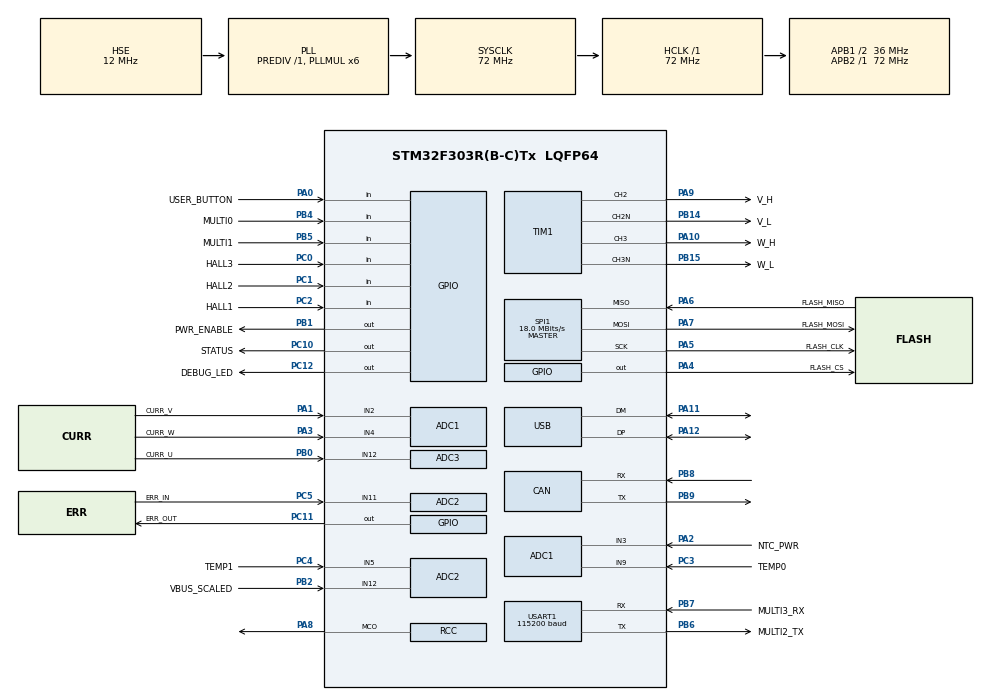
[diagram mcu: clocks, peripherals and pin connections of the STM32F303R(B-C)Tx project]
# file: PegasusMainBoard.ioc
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ADC1.Channel-1\#ChannelRegularConversion=ADC_CHANNEL_4
ADC1.ClockPrescaler=ADC_CLOCK_SYNC_PCLK_DIV4
ADC1.NbrOfConversionFlag=1
ADC1.Offset-1\#ChannelRegularConversion=0
ADC1.OffsetNumber-1\#ChannelRegularConversion=ADC_OFFSET_NONE
ADC1.Rank-1\#ChannelRegularConversion=1
ADC1.SamplingTime-1\#ChannelRegularConversion=ADC_SAMPLETIME_1CYCLE_5
ADC1.master=1
ADC2.Channel-0\#ChannelRegularConversion=ADC_CHANNEL_5
ADC2.ClockPrescaler=ADC_CLOCK_SYNC_PCLK_DIV4
ADC2.NbrOfConversionFlag=1
ADC2.Offset-0\#ChannelRegularConversion=0
ADC2.OffsetNumber-0\#ChannelRegularConversion=ADC_OFFSET_NONE
ADC2.Rank-0\#ChannelRegularConversion=1
ADC2.SamplingTime-0\#ChannelRegularConversion=ADC_SAMPLETIME_1CYCLE_5
ADC3.Channel-0\#ChannelRegularConversion=ADC_CHANNEL_12
ADC3.NbrOfConversionFlag=1
ADC3.Offset-0\#ChannelRegularConversion=0
ADC3.OffsetNumber-0\#ChannelRegularConversion=ADC_OFFSET_NONE
ADC3.Rank-0\#ChannelRegularConversion=1
ADC3.SamplingTime-0\#ChannelRegularConversion=ADC_SAMPLETIME_1CYCLE_5
ADC3.master=1
CAN.BS1=CAN_BS1_1TQ
CAN.BS2=CAN_BS2_1TQ
CAN.CalculateTimeQuantum=444.44444444444446
Mcu.Family=STM32F3
Mcu.Name=STM32F303R(B-C)Tx
Mcu.Package=LQFP64
NVIC.PriorityGroup=NVIC_PRIORITYGROUP_4
NVIC.RCC_IRQn=true\:0\:0\:false\:false\:true\:true\:false
PA0.GPIO_Label=USER_BUTTON
PA0.Signal=GPIO_Input
PA1.GPIO_Label=CURR_V
PA1.Mode=IN2-Single-Ended
PA1.Signal=ADC1_IN2
PA10.GPIO_Label=W_H
PA10.Signal=S_TIM1_CH3
PA11.Mode=Device
PA11.Signal=USB_DM
PA12.Mode=Device
PA12.Signal=USB_DP
PA13.Mode=Serial_Wire
PA13.Signal=SYS_JTMS-SWDIO
PA14.Mode=Serial_Wire
PA14.Signal=SYS_JTCK-SWCLK
PA2.GPIO_Label=NTC_PWR
PA2.Mode=IN3-Single-Ended
PA2.Signal=ADC1_IN3
PA3.GPIO_Label=CURR_W
PA3.Mode=IN4-Single-Ended
PA3.Signal=ADC1_IN4
PA4.GPIO_Label=FLASH_CS
PA4.Signal=GPIO_Output
PA5.GPIO_Label=FLASH_CLK
PA5.Mode=Full_Duplex_Master
PA5.Signal=SPI1_SCK
PA6.GPIO_Label=FLASH_MISO
PA6.Mode=Full_Duplex_Master
PA6.Signal=SPI1_MISO
PA7.GPIO_Label=FLASH_MOSI
PA7.Mode=Full_Duplex_Master
PA7.Signal=SPI1_MOSI
PA8.Mode=Clock-out
PA8.Signal=RCC_MCO
PA9.GPIO_Label=V_H
PA9.Signal=S_TIM1_CH2
PB0.GPIO_Label=CURR_U
PB0.Mode=IN12-Single-Ended
PB0.Signal=ADC3_IN12
PB1.GPIO_Label=PWR_ENABLE
PB1.Signal=GPIO_Output
PB13.GPIO_Label=U_L
PB13.Signal=TIM1_CH1N
PB14.GPIO_Label=V_L
PB14.Mode=Output Compare2 CH2 CH2N
PB14.Signal=TIM1_CH2N
PB15.GPIO_Label=W_L
PB15.Mode=Output Compare3 CH3 CH3N
PB15.Signal=TIM1_CH3N
PB2.GPIO_Label=VBUS_SCALED
PB2.Mode=IN12-Single-Ended
PB2.Signal=ADC2_IN12
PB3.Signal=SYS_JTDO-TRACESWO
PB4.GPIO_Label=MULTI0
PB4.Signal=GPIO_Input
PB5.GPIO_Label=MULTI1
PB5.Signal=GPIO_Input
PB6.GPIO_Label=MULTI2_TX
PB6.Mode=Asynchronous
PB6.Signal=USART1_TX
PB7.GPIO_Label=MULTI3_RX
PB7.Mode=Asynchronous
PB7.Signal=USART1_RX
PB8.Mode=Master
PB8.Signal=CAN_RX
PB9.Mode=Master
PB9.Signal=CAN_TX
PC0.GPIO_Label=HALL3
PC0.Signal=GPIO_Input
PC1.GPIO_Label=HALL2
PC1.Signal=GPIO_Input
PC10.GPIO_Label=STATUS
PC10.Signal=GPIO_Output
PC11.GPIO_Label=ERR_OUT
PC11.Signal=GPIO_Output
PC12.GPIO_Label=DEBUG_LED
PC12.Signal=GPIO_Output
PC2.GPIO_Label=HALL1
PC2.Signal=GPIO_Input
PC3.GPIO_Label=TEMP0
PC3.Signal=ADCx_IN9
PC4.GPIO_Label=TEMP1
PC4.Mode=IN5-Single-Ended
PC4.Signal=ADC2_IN5
PC5.GPIO_Label=ERR_IN
PC5.Mode=IN11-Single-Ended
PC5.Signal=ADC2_IN11
PF0-OSC_IN.Mode=HSE-External-Oscillator
PF0-OSC_IN.Signal=RCC_OSC_IN
PF1-OSC_OUT.Mode=HSE-External-Oscillator
PF1-OSC_OUT.Signal=RCC_OSC_OUT
ProjectManager.HeapSize=0x200
ProjectManager.StackSize=0x400
ProjectManager.TargetToolchain=STM32CubeIDE
RCC.AHBFreq_Value=72000000
RCC.APB1CLKDivider=RCC_HCLK_DIV2
RCC.APB1Freq_Value=36000000
RCC.APB1TimFreq_Value=72000000
RCC.APB2Freq_Value=72000000
RCC.APB2TimFreq_Value=72000000
RCC.CortexFreq_Value=72000000
RCC.HCLKFreq_Value=72000000
RCC.HSE_VALUE=12000000
RCC.HSI_VALUE=8000000
RCC.LSE_VALUE=32768
RCC.PLLMUL=RCC_PLL_MUL6
RCC.PRESCALERUSB=RCC_USBCLKSOURCE_PLL_DIV1_5
RCC.SYSCLKFreq_VALUE=72000000
RCC.SYSCLKSourceVirtual=RCC_SYSCLKSOURCE_PLLCLK
RCC.USBFreq_Value=48000000
SH.ADCx_IN9.0=ADC1_IN9,IN9-Single-Ended
SH.S_TIM1_CH2.0=TIM1_CH2,Output Compare2 CH2 CH2N
SH.S_TIM1_CH3.0=TIM1_CH3,Output Compare3 CH3 CH3N
SPI1.BaudRatePrescaler=SPI_BAUDRATEPRESCALER_4
SPI1.CalculateBaudRate=18.0 MBits/s
SPI1.DataSize=SPI_DATASIZE_8BIT
SPI1.Direction=SPI_DIRECTION_2LINES
SPI1.Mode=SPI_MODE_MASTER
SPI1.NSSPMode=SPI_NSS_PULSE_DISABLE
SPI1.VirtualType=VM_MASTER
TIM1.Channel-Output\ Compare2\ CH2\ CH2N=TIM_CHANNEL_2
TIM1.Channel-Output\ Compare3\ CH3\ CH3N=TIM_CHANNEL_3
USART1.BaudRate=115200
USART1.VirtualMode-Asynchronous=VM_ASYNC
VP_ADC1_TempSens_Input.Mode=IN-TempSens
VP_TIM1_VS_ClockSourceINT.Mode=Internal
board=custom

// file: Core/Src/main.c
/* USER CODE BEGIN Header */
/**
  ******************************************************************************
  * @file           : main.c
  * @brief          : Main program body
  ******************************************************************************
  * @attention
  *
  * <h2><center>&copy; Copyright (c) 2021 STMicroelectronics.
  * All rights reserved.</center></h2>
  *
  * This software component is licensed by ST under BSD 3-Clause license,
  * the "License"; You may not use this file except in compliance with the
  * License. You may obtain a copy of the License at:
  *                        opensource.org/licenses/BSD-3-Clause
  *
  ******************************************************************************
  */
/* USER CODE END Header */

#include "main.h"
#include "adc.h"
#include "can.h"
#include "spi.h"
#include "tim.h"
#include "usart.h"
#include "usb.h"
#include "gpio.h"

/* USER CODE BEGIN Includes */
#include <stdio.h>
#include <string.h>
/* USER CODE END Includes */

void SystemClock_Config(void);

int main(void)
{

  /* MCU Configuration--------------------------------------------------------*/

  /* Reset of all peripherals, Initializes the Flash interface and the Systick. */
  HAL_Init();

  /* Configure the system clock */
  SystemClock_Config();

  /* Initialize all configured peripherals */
  MX_GPIO_Init();
  MX_ADC1_Init();
  MX_ADC2_Init();
  MX_ADC3_Init();
  MX_CAN_Init();
  MX_SPI1_Init();
  MX_TIM1_Init();
  MX_USART1_UART_Init();
  MX_USB_PCD_Init();
  /* USER CODE BEGIN 2 */

  // Testa o funcionamento da flash
  // Acaba também testando a UART (MULTI2/3)
  uint8_t tx_buf[] = { 0x9F, 0x00, 0x00, 0x00, 0x00 };
  uint8_t rx_buf[5] = {0};
  HAL_GPIO_WritePin(FLASH_CS_GPIO_Port, FLASH_CS_Pin, SET);
  HAL_Delay(10);
  HAL_GPIO_WritePin(FLASH_CS_GPIO_Port, FLASH_CS_Pin, RESET);
  HAL_SPI_TransmitReceive(&hspi1, tx_buf, rx_buf, sizeof(rx_buf), 0xff);
  HAL_GPIO_WritePin(FLASH_CS_GPIO_Port, FLASH_CS_Pin, SET);
  uint32_t serial = rx_buf[1] << 16 | rx_buf[2] << 8 | rx_buf[3];

  char buf[200];
  sprintf(buf, "---\r\nFlash Serial: %lu | %s\n\r ", serial, serial == 15679512 ? "PASS" : "FAIL");
  HAL_UART_Transmit(&huart1, (uint8_t *) buf, strlen(buf), 0xff);

  /* USER CODE END 2 */

  /* Infinite loop */
  /* USER CODE BEGIN WHILE */
  while (1)
  {
	  // Testa os LEDs
	  HAL_GPIO_TogglePin(STATUS_GPIO_Port, STATUS_Pin);
	  HAL_GPIO_TogglePin(ERR_OUT_GPIO_Port, ERR_OUT_Pin);
	  HAL_GPIO_TogglePin(DEBUG_LED_GPIO_Port, DEBUG_LED_Pin);
	  HAL_Delay(500);
	  HAL_GPIO_TogglePin(STATUS_GPIO_Port, STATUS_Pin);
	  HAL_GPIO_TogglePin(ERR_OUT_GPIO_Port, ERR_OUT_Pin);
	  HAL_GPIO_TogglePin(DEBUG_LED_GPIO_Port, DEBUG_LED_Pin);
	  HAL_Delay(500);

    /* USER CODE END WHILE */

  }
}

void SystemClock_Config(void)
{
  RCC_OscInitTypeDef RCC_OscInitStruct = {0};
  RCC_ClkInitTypeDef RCC_ClkInitStruct = {0};
  RCC_PeriphCLKInitTypeDef PeriphClkInit = {0};

  /** Initializes the CPU, AHB and APB busses clocks
  */
  RCC_OscInitStruct.OscillatorType = RCC_OSCILLATORTYPE_HSE;
  RCC_OscInitStruct.HSEState = RCC_HSE_ON;
  RCC_OscInitStruct.HSEPredivValue = RCC_HSE_PREDIV_DIV1;
  RCC_OscInitStruct.HSIState = RCC_HSI_ON;
  RCC_OscInitStruct.PLL.PLLState = RCC_PLL_ON;
  RCC_OscInitStruct.PLL.PLLSource = RCC_PLLSOURCE_HSE;
  RCC_OscInitStruct.PLL.PLLMUL = RCC_PLL_MUL6;
  if (HAL_RCC_OscConfig(&RCC_OscInitStruct) != HAL_OK)
  {
    Error_Handler();
  }
  /** Initializes the CPU, AHB and APB busses clocks
  */
  RCC_ClkInitStruct.ClockType = RCC_CLOCKTYPE_HCLK|RCC_CLOCKTYPE_SYSCLK
                              |RCC_CLOCKTYPE_PCLK1|RCC_CLOCKTYPE_PCLK2;
  RCC_ClkInitStruct.SYSCLKSource = RCC_SYSCLKSOURCE_PLLCLK;
  RCC_ClkInitStruct.AHBCLKDivider = RCC_SYSCLK_DIV1;
  RCC_ClkInitStruct.APB1CLKDivider = RCC_HCLK_DIV2;
  RCC_ClkInitStruct.APB2CLKDivider = RCC_HCLK_DIV1;

  if (HAL_RCC_ClockConfig(&RCC_ClkInitStruct, FLASH_LATENCY_2) != HAL_OK)
  {
    Error_Handler();
  }
  PeriphClkInit.PeriphClockSelection = RCC_PERIPHCLK_USB|RCC_PERIPHCLK_USART1
                              |RCC_PERIPHCLK_TIM1|RCC_PERIPHCLK_ADC34;
  PeriphClkInit.Usart1ClockSelection = RCC_USART1CLKSOURCE_PCLK2;
  PeriphClkInit.Adc34ClockSelection = RCC_ADC34PLLCLK_DIV1;
  PeriphClkInit.USBClockSelection = RCC_USBCLKSOURCE_PLL_DIV1_5;
  PeriphClkInit.Tim1ClockSelection = RCC_TIM1CLK_HCLK;
  if (HAL_RCCEx_PeriphCLKConfig(&PeriphClkInit) != HAL_OK)
  {
    Error_Handler();
  }
  HAL_RCC_MCOConfig(RCC_MCO, RCC_MCO1SOURCE_SYSCLK, RCC_MCODIV_1);
}

void Error_Handler(void)
{
}

/************************ (C) COPYRIGHT STMicroelectronics *****END OF FILE****/
